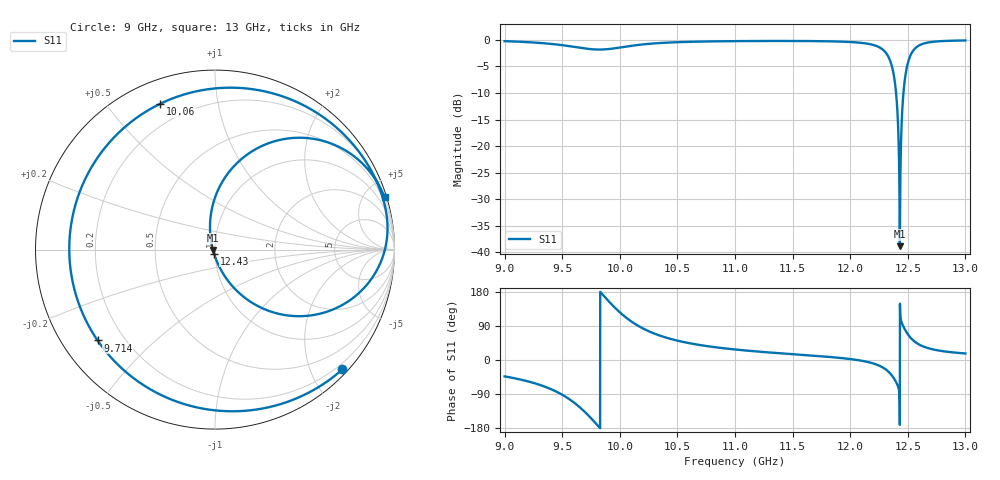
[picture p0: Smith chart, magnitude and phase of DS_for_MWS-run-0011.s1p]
! TOUCHSTONE file generated by CST DESIGN STUDIO
! Date and time: Tue Feb  4 17:09:54 2025
! Project name: C:\Work\MatlabApps\UnitCellOptimizationMatlab\CST\unitcell.cst
! Tree item: Tasks\Sweep1\SPara1\S-Parameters
! Header version: 2024
! Port assignment regex: !\s*Touchstone port\s*([0-9]+)\s*=\s*(CST MWS port|CST DES external port|CST DES block port)\s*(.+)\s* \(\"(.*)\"\)(\s*mode\s*([0-9]+))?.*
! Touchstone port assignment:
! Touchstone port 1 = CST DES external port 1 ("")
# GHz S MA R 50
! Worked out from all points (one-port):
!   4001 points, 9 GHz to 13 GHz, reference 50 ohm
!   lowest |S11| = -38.9 dB at 12.43 GHz (marker M1), VSWR 1.02, Z = 48.9 - j0.169 ohm
!   |S11| at or under -10 dB: 12.4 GHz to 12.46 GHz (63.93 MHz wide, 0.514 % of centre)
!   S11 on the Smith chart (normalised r, x): 9 GHz: 0.10, -2.52; 9.714 GHz: 0.11, -0.34; 10.06 GHz: 0.10, +0.69; 12.43 GHz: 0.99, -0.04; 13 GHz: 0.25, +6.60
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9  0.974 -43.2
9.277  0.9423 -62.8
9.5  0.893 -91.7
9.613  0.8578 -114.8
9.714  0.8271 -142.3
9.786  0.8138 -165.3
9.851  0.813 172.6
10  0.8481 125.8
10.06  0.8679 110.6
10.269  0.9226 73.5
10.5  0.9526 51.1
11  0.9746 27.8
11.5  0.9779 15.4
12  0.9563 2.6
12.225  0.8795 -11.6
12.337  0.6753 -32.2
12.39  0.3829 -53.6
12.404  0.2656 -61.7
12.417  0.1424 -71.2
12.429  0.02264 -103.9
12.431  0.01139 -171.3
12.445  0.1476 100.7
12.457  0.2676 91.5
12.467  0.3605 85.2
12.5  0.6028 68.0
12.57  0.8458 46.1
12.654  0.9353 33.5
13  0.9891 17.2
